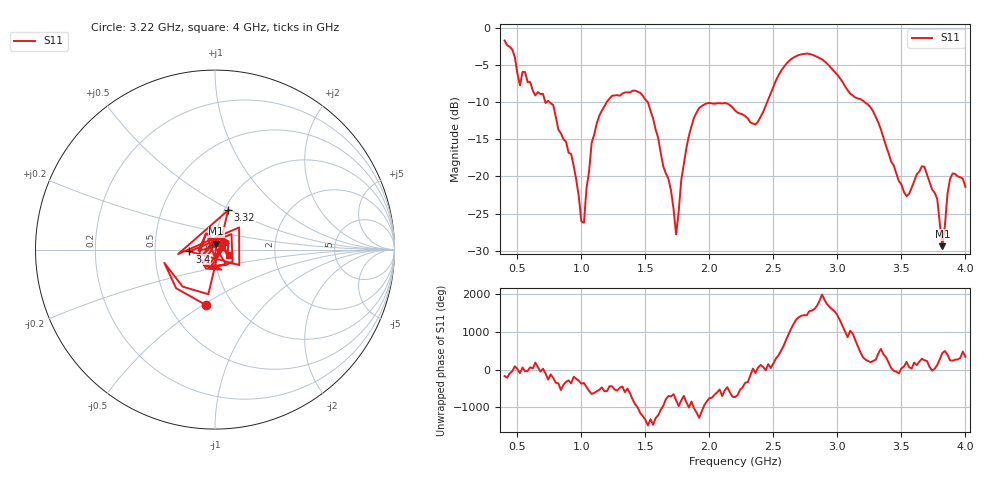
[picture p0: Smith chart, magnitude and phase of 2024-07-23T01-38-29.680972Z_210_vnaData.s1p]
!Created with skrf (http://scikit-rf.org).
# Hz S RI R 50.0
!freq ReS11 ImS11
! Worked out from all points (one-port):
!   181 points, 400 MHz to 4 GHz, reference 50 ohm
!   lowest |S11| = -29.4 dB at 3.82 GHz (marker M1), VSWR 1.07, Z = 50.5 + j3.37 ohm
!   |S11| at or under -10 dB: 751.8 MHz to 1.197 GHz (445.6 MHz wide, 45.7 % of centre); 1.52 GHz to 2.451 GHz (930.6 MHz wide, 46.9 % of centre); 3.214 GHz to end of sweep (the widest 3 of 4)
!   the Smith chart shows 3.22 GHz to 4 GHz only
!   S11 on the Smith chart (normalised r, x): 3.22 GHz: 0.75, -0.52; 3.32 GHz: 1.04, +0.48; 3.4 GHz: 0.75, -0.02; 4 GHz: 1.17, -0.07
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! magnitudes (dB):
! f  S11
! 400 MHz  -1.7
! 520 MHz  -7.7
! 780 MHz  -10.4
! 860 MHz  -15.0
! 920 MHz  -17.0
! 1.02 GHz  -26.2
! 1.08 GHz  -15.5
! 1.12 GHz  -12.8
! 1.3 GHz  -9.1
! 1.52 GHz  -10.0
! 1.7 GHz  -21.9
! 1.74 GHz  -27.8
! 1.76 GHz  -24.7
! 1.82 GHz  -16.2
! 1.9 GHz  -11.4
! 2.2 GHz  -11.1
! 2.36 GHz  -13.0
! 2.66 GHz  -3.9
! 3.1 GHz  -8.8
! 3.22 GHz  -10.1
! 3.32 GHz  -12.7
! 3.4 GHz  -16.9
! 3.56 GHz  -22.3
! 3.68 GHz  -18.7
! 3.78 GHz  -23.0
! 3.82 GHz  -29.4
! 3.88 GHz  -20.3
! 4 GHz  -21.4
